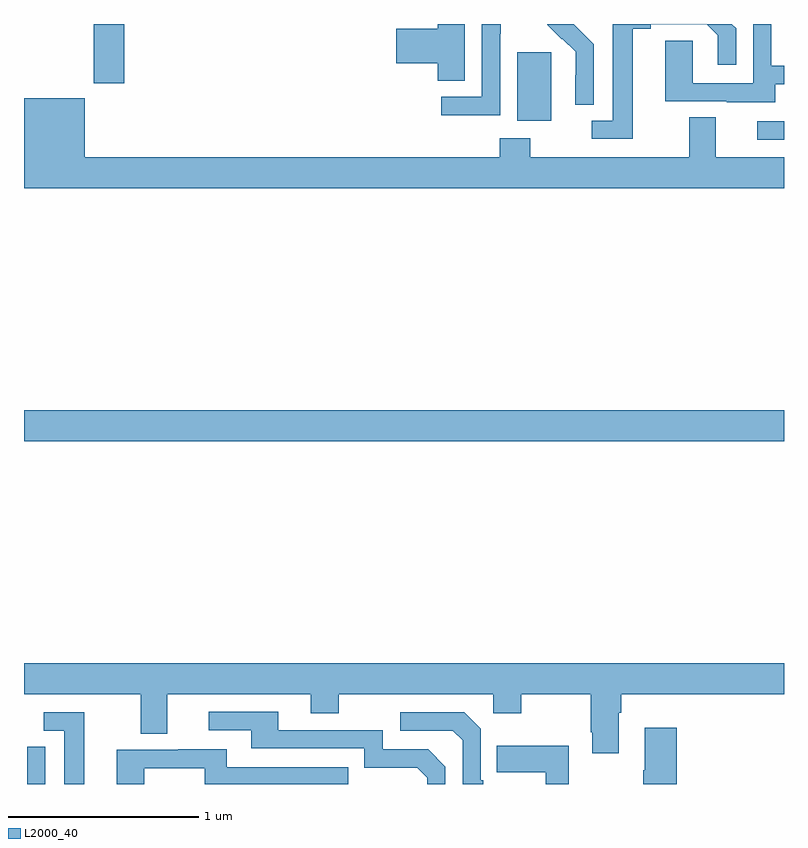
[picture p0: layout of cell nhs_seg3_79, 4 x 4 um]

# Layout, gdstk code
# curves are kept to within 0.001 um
import gdstk
lib = gdstk.Library(unit=1e-6, precision=1e-09)
def R(c, l, rs):  # rectangles x0, y0, x1, y1
    for r in rs: c.add(gdstk.rectangle(r[:2], r[2:], *l))
def P(c, l, *ps):  # polygons
    for p in ps: c.add(gdstk.Polygon(p, *l))
L2000_40 = (2000, 40)

nhs_seg3_79 = lib.new_cell('nhs_seg3_79')
R(nhs_seg3_79, L2000_40, [(113,746.204,117,746.368), (116.859,747.792,117,747.888), (115.595,747.89,115.774,748.251), (113.368,748.089,113.528,748.4)])
P(nhs_seg3_79, L2000_40, [(115.321,748.4),(115.178,748.4),(115.178,748.376),(114.96,748.376),(114.96,748.193),(115.178,748.193),(115.178,748.102),(115.321,748.102)],
  [(115.998,748.294),(115.894,748.4),(115.753,748.4),(115.753,748.397),(115.83,748.32),(115.833,748.323),(115.904,748.253),(115.904,748.13),(115.902,748.13),(115.902,747.976),(115.998,747.976)],
  [(115.506,748.348),(115.509,748.348),(115.509,748.4),(115.41,748.4),(115.41,748.017),(115.197,748.017),(115.197,747.919),(115.506,747.919)],
  [(116.953,748.083),(117,748.083),(117,748.179),(116.934,748.179),(116.934,748.4),(116.838,748.4),(116.838,748.089),(116.52,748.089),(116.52,748.313),(116.375,748.313),(116.375,747.993),(116.699,747.993),(116.699,747.989),(116.953,747.989)],
  [(116.203,748.376),(116.299,748.376),(116.299,748.398),(116.594,748.398),(116.651,748.341),(116.651,748.185),(116.748,748.185),(116.748,748.378),(116.726,748.4),(116.098,748.4),(116.099,747.891),(115.989,747.891),(115.989,747.795),(116.203,747.795)],
  [(117,747.7),(116.641,747.7),(116.641,747.908),(116.501,747.908),(116.501,747.7),(115.665,747.7),(115.665,747.799),(115.505,747.799),(115.505,747.7),(113.32,747.7),(113.32,748.009),(113,748.009),(113,747.536),(117,747.536)],
  [(116.131,744.776),(116.144,744.776),(116.144,744.872),(117,744.872),(117,745.036),(113,745.036),(113,744.872),(113.615,744.872),(113.615,744.664),(113.755,744.664),(113.755,744.872),(114.509,744.872),(114.509,744.773),(114.657,744.773),(114.657,744.872),(115.47,744.872),(115.47,744.773),(115.617,744.773),(115.617,744.872),(115.984,744.872),(115.984,744.673),(115.991,744.673),(115.991,744.561),(116.131,744.561)],
  [(115.218,744.492),(115.128,744.582),(114.888,744.582),(114.888,744.684),(114.337,744.684),(114.337,744.78),(113.973,744.78),(113.973,744.684),(114.197,744.684),(114.197,744.588),(114.792,744.588),(114.792,744.485),(115.069,744.485),(115.122,744.432),(115.122,744.4),(115.218,744.4)],
  [(113.317,744.777),(113.103,744.777),(113.103,744.681),(113.213,744.681),(113.213,744.4),(113.317,744.4)],
  [(115.417,744.421),(115.404,744.421),(115.404,744.69),(115.317,744.777),(114.981,744.777),(114.981,744.681),(115.257,744.681),(115.308,744.63),(115.308,744.4),(115.417,744.4)],
  [(116.435,744.697),(116.267,744.697),(116.267,744.473),(116.26,744.473),(116.26,744.4),(116.435,744.4)],
  [(115.867,744.601),(115.489,744.601),(115.489,744.461),(115.746,744.461),(115.746,744.4),(115.867,744.4)],
  [(113.112,744.596),(113.016,744.596),(113.016,744.442),(113.018,744.442),(113.018,744.4),(113.112,744.4)],
  [(113.634,744.483),(113.952,744.483),(113.952,744.4),(114.707,744.4),(114.707,744.489),(114.067,744.489),(114.067,744.583),(113.813,744.583),(113.813,744.579),(113.489,744.579),(113.489,744.4),(113.634,744.4)])

lib.write_gds('nhs_seg3_79.gds')
